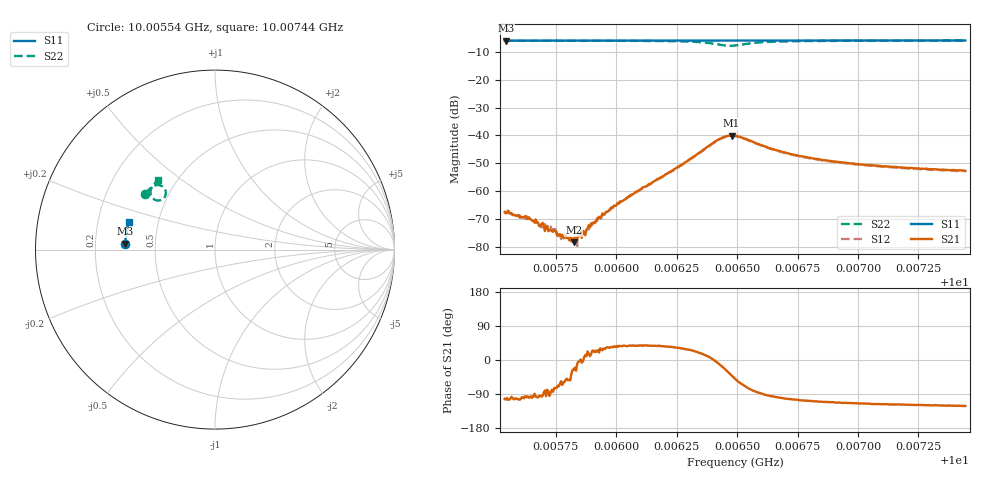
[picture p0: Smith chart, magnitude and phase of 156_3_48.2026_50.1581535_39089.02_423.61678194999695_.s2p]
#  HZ  S  RI  R  50.00
! Rohde & Schwarz Vector Network Analyzer
! Rohde-Schwarz,ZNB20-2Port,1311601062101988,3.16
! Created: UTC 3/20/2024, 11:43:02 AM
! freq[Hz]  re:S11  im:S11  re:S21  im:S21  re:S12  im:S12  re:S22  im:S22
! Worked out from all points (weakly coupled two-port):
!   401 points, 10.00554 GHz to 10.00744 GHz, reference 50 ohm
!   highest |S21| = -40.05 dB at 10.00648 GHz (marker M1); lowest = -78.3 dB at 10.00582 GHz (marker M2)
!   lowest |S11| = -6.0 dB at 10.00554 GHz (marker M3), VSWR 3.01, Z = 16.7 + j1.46 ohm
!   |S11| at or under -10 dB: nowhere
!   |S22| runs from -7.9 to -6.0 dB; largest |S21 - S12| = 0.0006
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1.0005538e10  -0.4997 0.0326  -9.06e-05 -0.000411  -4.58e-05 -0.000444  -0.3882 0.3098
1.0005543e10  -0.4996 0.0328  -9.93e-05 -0.000385  -9.39e-05 -0.000408  -0.3881 0.3101
1.0005634e10  -0.4994 0.0387  -3.18e-05 -0.000313  -9.33e-06 -0.000323  -0.3841 0.3154
1.0005739e10  -0.499 0.0455  1.96e-05 -0.000185  1.71e-05 -0.000205  -0.3789 0.3219
1.0005762e10  -0.499 0.0473  5.77e-05 -0.000156  4.96e-05 -0.000176  -0.3777 0.3233
1.0005791e10  -0.4989 0.0489  0.0001 -0.00013  0.000101 -0.000116  -0.3762 0.3252
1.0005824e10  -0.4985 0.0512  0.000109 -5.27e-05  0.000132 -4.75e-05  -0.3744 0.3274
1.0005848e10  -0.4985 0.0526  0.000157 -8.61e-06  0.000179 -2.58e-05  -0.3731 0.3288
1.0005853e10  -0.4985 0.053  0.000184 4.48e-06  0.000153 -3.07e-05  -0.3728 0.3292
1.0005858e10  -0.4985 0.0532  0.000145 -1.83e-05  0.000153 8.14e-06  -0.3725 0.3295
1.0005867e10  -0.4984 0.054  0.000181 2.21e-05  0.000183 3.69e-05  -0.3719 0.33
1.0005896e10  -0.4982 0.0558  0.000256 6.71e-05  0.000215 9.4e-05  -0.3701 0.3318
1.0005982e10  -0.4979 0.0613  0.000424 0.000296  0.000392 0.000305  -0.3645 0.3377
1.0006177e10  -0.4964 0.0739  0.00132 0.00104  0.00128 0.00107  -0.3459 0.3522
1.0006415e10  -0.4937 0.0893  0.00801 -0.00072  0.00785 -0.000311  -0.2767 0.3319
1.0006477e10  -0.4929 0.0926  0.00749 -0.00653  0.00766 -0.00596  -0.2917 0.281
1.0006491e10  -0.4929 0.0933  0.00639 -0.00749  0.00664 -0.00698  -0.3039 0.2751
1.0006563e10  -0.4927 0.0978  0.00134 -0.00764  0.00171 -0.00738  -0.3491 0.2884
1.0006668e10  -0.4918 0.1046  -0.000782 -0.00528  -0.00055 -0.00521  -0.3598 0.3204
1.0006811e10  -0.4902 0.1138  -0.00124 -0.0037  -0.00103 -0.00368  -0.3538 0.3432
1.000713e10  -0.4856 0.134  -0.00125 -0.00246  -0.00111 -0.00246  -0.3362 0.369
1.0007444e10  -0.4806 0.1536  -0.0012 -0.00197  -0.00109 -0.00202  -0.3197 0.3866
